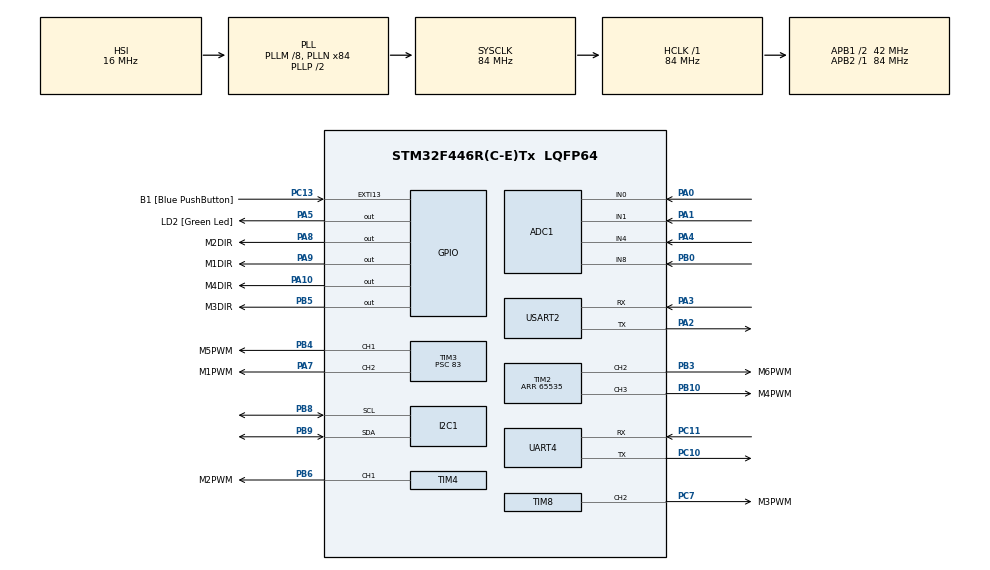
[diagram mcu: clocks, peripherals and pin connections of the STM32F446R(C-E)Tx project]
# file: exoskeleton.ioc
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ADC1.Channel-0\#ChannelRegularConversion=ADC_CHANNEL_0
ADC1.Channel-1\#ChannelRegularConversion=ADC_CHANNEL_1
ADC1.Channel-2\#ChannelRegularConversion=ADC_CHANNEL_4
ADC1.Channel-3\#ChannelRegularConversion=ADC_CHANNEL_8
ADC1.ContinuousConvMode=DISABLE
ADC1.DMAContinuousRequests=ENABLE
ADC1.EOCSelection=ADC_EOC_SEQ_CONV
ADC1.NbrOfConversion=4
ADC1.NbrOfConversionFlag=1
ADC1.Rank-0\#ChannelRegularConversion=1
ADC1.Rank-1\#ChannelRegularConversion=2
ADC1.Rank-2\#ChannelRegularConversion=3
ADC1.Rank-3\#ChannelRegularConversion=4
ADC1.SamplingTime-0\#ChannelRegularConversion=ADC_SAMPLETIME_3CYCLES
ADC1.SamplingTime-1\#ChannelRegularConversion=ADC_SAMPLETIME_3CYCLES
ADC1.SamplingTime-2\#ChannelRegularConversion=ADC_SAMPLETIME_3CYCLES
ADC1.SamplingTime-3\#ChannelRegularConversion=ADC_SAMPLETIME_3CYCLES
ADC1.master=1
Dma.ADC1.0.Direction=DMA_PERIPH_TO_MEMORY
Dma.ADC1.0.FIFOMode=DMA_FIFOMODE_DISABLE
Dma.ADC1.0.Instance=DMA2_Stream0
Dma.ADC1.0.MemDataAlignment=DMA_MDATAALIGN_WORD
Dma.ADC1.0.MemInc=DMA_MINC_ENABLE
Dma.ADC1.0.Mode=DMA_CIRCULAR
Dma.ADC1.0.PeriphDataAlignment=DMA_PDATAALIGN_WORD
Dma.ADC1.0.PeriphInc=DMA_PINC_DISABLE
Dma.ADC1.0.Priority=DMA_PRIORITY_VERY_HIGH
Dma.Request0=ADC1
I2C1.I2C_Mode=I2C_Standard
Mcu.Family=STM32F4
Mcu.Name=STM32F446R(C-E)Tx
Mcu.Package=LQFP64
NVIC.DMA2_Stream0_IRQn=true\:0\:0\:false\:false\:true\:false\:true\:true
NVIC.PriorityGroup=NVIC_PRIORITYGROUP_0
PA0-WKUP.Signal=ADCx_IN0
PA1.Signal=ADCx_IN1
PA10.GPIO_Label=M4DIR
PA10.Signal=GPIO_Output
PA2.Mode=Asynchronous
PA2.Signal=USART2_TX
PA3.Mode=Asynchronous
PA3.Signal=USART2_RX
PA4.Signal=ADCx_IN4
PA5.GPIO_Label=LD2 [Green Led]
PA5.Signal=GPIO_Output
PA7.GPIO_Label=M1PWM
PA7.Signal=S_TIM3_CH2
PA8.GPIO_Label=M2DIR
PA8.Signal=GPIO_Output
PA9.GPIO_Label=M1DIR
PA9.Signal=GPIO_Output
PB0.Signal=ADCx_IN8
PB10.GPIO_Label=M4PWM
PB10.Signal=S_TIM2_CH3
PB3.GPIO_Label=M6PWM
PB3.Signal=S_TIM2_CH2
PB4.GPIO_Label=M5PWM
PB4.Signal=S_TIM3_CH1
PB5.GPIO_Label=M3DIR
PB5.Signal=GPIO_Output
PB6.GPIO_Label=M2PWM
PB6.Signal=S_TIM4_CH1
PB8.GPIO_Pu=GPIO_NOPULL
PB8.Mode=I2C
PB8.Signal=I2C1_SCL
PB9.GPIO_Pu=GPIO_NOPULL
PB9.Mode=I2C
PB9.Signal=I2C1_SDA
PC10.Mode=Asynchronous
PC10.Signal=UART4_TX
PC11.Mode=Asynchronous
PC11.Signal=UART4_RX
PC13.GPIO_Label=B1 [Blue PushButton]
PC13.GPIO_ModeDefaultEXTI=GPIO_MODE_IT_FALLING
PC13.Signal=GPXTI13
PC7.GPIO_Label=M3PWM
PC7.Signal=S_TIM8_CH2
ProjectManager.HeapSize=0x200
ProjectManager.StackSize=0x400
ProjectManager.TargetToolchain=STM32CubeIDE
RCC.AHBFreq_Value=84000000
RCC.APB1CLKDivider=RCC_HCLK_DIV2
RCC.APB1Freq_Value=42000000
RCC.APB1TimFreq_Value=84000000
RCC.APB2Freq_Value=84000000
RCC.APB2TimFreq_Value=84000000
RCC.CortexFreq_Value=84000000
RCC.FLatency-AdvancedSettings=FLASH_LATENCY_2
RCC.HCLKFreq_Value=84000000
RCC.HSE_VALUE=8000000
RCC.HSI_VALUE=16000000
RCC.PLLM=8
RCC.PLLN=84
RCC.SYSCLKFreq_VALUE=84000000
RCC.SYSCLKSource=RCC_SYSCLKSOURCE_PLLCLK
RCC.USBFreq_Value=84000000
RCC.VCOOutputFreq_Value=168000000
SH.ADCx_IN0.0=ADC1_IN0,IN0
SH.ADCx_IN1.0=ADC1_IN1,IN1
SH.ADCx_IN4.0=ADC1_IN4,IN4
SH.ADCx_IN8.0=ADC1_IN8,IN8
SH.S_TIM2_CH2.0=TIM2_CH2,PWM Generation2 CH2
SH.S_TIM2_CH3.0=TIM2_CH3,PWM Generation3 CH3
SH.S_TIM3_CH1.0=TIM3_CH1,PWM Generation1 CH1
SH.S_TIM3_CH2.0=TIM3_CH2,PWM Generation2 CH2
SH.S_TIM4_CH1.0=TIM4_CH1,PWM Generation1 CH1
SH.S_TIM8_CH2.0=TIM8_CH2,PWM Generation2 CH2
TIM2.Channel-PWM\ Generation2\ CH2=TIM_CHANNEL_2
TIM2.Channel-PWM\ Generation3\ CH3=TIM_CHANNEL_3
TIM2.OCMode_PWM-PWM\ Generation3\ CH3=TIM_OCMODE_PWM1
TIM2.Period=65535
TIM2.Pulse-PWM\ Generation2\ CH2=0
TIM3.Channel-PWM\ Generation1\ CH1=TIM_CHANNEL_1
TIM3.Channel-PWM\ Generation2\ CH2=TIM_CHANNEL_2
TIM3.Period=19975
TIM3.Prescaler=83
TIM4.Channel-PWM\ Generation1\ CH1=TIM_CHANNEL_1
TIM8.Channel-PWM\ Generation2\ CH2=TIM_CHANNEL_2
UART4.VirtualMode=Asynchronous
USART2.VirtualMode=VM_ASYNC
VP_TIM3_VS_ClockSourceINT.Mode=Internal
VP_TIM4_VS_ClockSourceINT.Mode=Internal
VP_TIM8_VS_ClockSourceINT.Mode=Internal
board=NUCLEO-F446RE

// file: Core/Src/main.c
/* USER CODE BEGIN Header */
/**
  ******************************************************************************
  * @file           : main.c
  * @brief          : Main program body
  ******************************************************************************
  * @attention
  *
  * Copyright (c) 2023 STMicroelectronics.
  * All rights reserved.
  *
  * This software is licensed under terms that can be found in the LICENSE file
  * in the root directory of this software component.
  * If no LICENSE file comes with this software, it is provided AS-IS.
  *
  ******************************************************************************
  */
/* USER CODE END Header */
#include "main.h"

ADC_HandleTypeDef hadc1;
DMA_HandleTypeDef hdma_adc1;

I2C_HandleTypeDef hi2c1;

TIM_HandleTypeDef htim2;
TIM_HandleTypeDef htim3;
TIM_HandleTypeDef htim4;
TIM_HandleTypeDef htim8;

UART_HandleTypeDef huart4;
UART_HandleTypeDef huart2;

void SystemClock_Config(void);
static void MX_GPIO_Init(void);
static void MX_DMA_Init(void);
static void MX_I2C1_Init(void);
static void MX_TIM2_Init(void);
static void MX_TIM3_Init(void);
static void MX_TIM4_Init(void);
static void MX_TIM8_Init(void);
static void MX_UART4_Init(void);
static void MX_USART2_UART_Init(void);
static void MX_ADC1_Init(void);

int main(void)
{

  /* MCU Configuration--------------------------------------------------------*/

  /* Reset of all peripherals, Initializes the Flash interface and the Systick. */
  HAL_Init();

  /* USER CODE BEGIN Init */

  uint8_t msg[100]; //buffer for UART message
  int msgSize;		//variable for UART message size in bytes
  uint8_t * i2cMsg;	//8-bit value of I2C message
  uint8_t buf;
  uint8_t val = 0x00;
  uint8_t test = 0;
  //extern con
  /* USER CODE END Init */

  /* Configure the system clock */
  SystemClock_Config();

  /* Initialize all configured peripherals */
  MX_GPIO_Init();
  MX_DMA_Init();
  MX_I2C1_Init();
  MX_TIM2_Init();
  MX_TIM3_Init();
  MX_TIM4_Init();
  MX_TIM8_Init();
  MX_UART4_Init();
  MX_USART2_UART_Init();
  MX_ADC1_Init();
  /* USER CODE BEGIN 2 */
  HAL_TIM_PWM_Start(&htim3, TIM_CHANNEL_2); //Motor 1
  HAL_TIM_PWM_Start(&htim4, TIM_CHANNEL_1); //Motor 2
  HAL_TIM_PWM_Start(&htim8, TIM_CHANNEL_2); //Motor 3
  HAL_TIM_PWM_Start(&htim2, TIM_CHANNEL_3); //Motor 4
  HAL_TIM_PWM_Start(&htim3, TIM_CHANNEL_1); //Motor 5
  HAL_TIM_PWM_Start(&htim2, TIM_CHANNEL_2); //Motor 6

  //MCP23008_Write8(MCP_IODIR, 0xFF); //configure all pins as outputs
  //MCP23008_Write8(MCP_GPPU, 0xFF); //configure all pins with pullups
  /* USER CODE END 2 */

  /* Infinite loop */
  /* USER CODE BEGIN WHILE */
  /*
  uint8_t encPos[6];
  while (1)
  {
	  encPos[0] = enc_read_pos(1); //read 1st joint
	  encPos[1] = enc_read_pos(2); //read 2nd joint
	  msgSize = sprintf((char *)msg, "Encoder 1 start: %u\r\n", encPos[0]); //store message in msg buffer
	  HAL_UART_Transmit(&huart2, msg, msgSize, 10); //Send UART message to UART2
	  msgSize = sprintf((char *)msg, "Encoder 2 start: %u\r\n", encPos[1]); //store message in msg buffer
	  HAL_UART_Transmit(&huart2, msg, msgSize, 10); //Send UART message to UART2
	  HAL_Delay(100);
  }
  */
  control_run();
  while (1)
  {
	/*
	HAL_ADC_Start_DMA(&hadc1, emg, 4); //get DMA to update EMG values
	msgSize = sprintf((char *)msg, "EMG1: %lu\tEMG2: %lu\tEMG3: %lu\tEMG4: %lu\r\n", emg[0],emg[1], emg[2],emg[3]); //store message in msg buffer
	HAL_UART_Transmit(&huart2, msg, msgSize, 10); //Send UART message to UART2
	HAL_Delay(1000);

	for(int i = 5; i < 8; i++)
	{
		setMotorVel(1, 1, (i));
		HAL_Delay(10);
	}
	*/
	msgSize = sprintf((char *)msg, "We livin: %u\r\n", enc_read_pos(1)); //store message in msg buffer
	HAL_UART_Transmit(&huart2, msg, msgSize, 10); //Send UART message to UART2
	HAL_Delay(1000);

	/*
	setMotorVel(1, 1, 7.5);
	HAL_Delay(1000);

	setMotorVel(1, 1, 7.75);
	HAL_Delay(1000);

	setMotorVel(1, 1, 7.5);
	HAL_Delay(1000);

	setMotorVel(1, 1, 7.75);
	HAL_Delay(1000);
	/*
	for(int i = 8; i > 0; i--)
	{
		setMotorVel(1, 1, (i));
		HAL_Delay(10);
	}

	HAL_Delay(1000);

	for(int i = 0; i < 75; i++)
	{
		setMotorVel(1, 0, (i));
		HAL_Delay(10);
	}

	HAL_Delay(5000);

	for(int i = 75; i > 0; i--)
	{
		setMotorVel(1, 0, (i));
		HAL_Delay(10);
	}

	HAL_Delay(1000);
	*/

    /* USER CODE END WHILE */

    /* USER CODE BEGIN 3 */
	/*
	//i2cMsg = 5;
	HAL_I2C_Master_Transmit(&hi2c1, ENC1ADD, (uint8_t *)(0xFF), 1, 10);
	//encPos[0] = HAL_I2C_Master_Receive(&hi2c1, ENC1ADD, (uint8_t *)i2cMsg, sizeof(i2cMsg), 10); //i2c messages
	msgSize = sprintf((char *)msg, "Pos: %d\r\n", encPos[0]); //store message in msg buffer
	HAL_UART_Transmit(&huart2, msg, msgSize, 10); //Send UART message to UART2
	*/
  }
  /* USER CODE END 3 */
}

void SystemClock_Config(void)
{
  RCC_OscInitTypeDef RCC_OscInitStruct = {0};
  RCC_ClkInitTypeDef RCC_ClkInitStruct = {0};

  /** Configure the main internal regulator output voltage
  */
  __HAL_RCC_PWR_CLK_ENABLE();
  __HAL_PWR_VOLTAGESCALING_CONFIG(PWR_REGULATOR_VOLTAGE_SCALE3);

  /** Initializes the RCC Oscillators according to the specified parameters
  * in the RCC_OscInitTypeDef structure.
  */
  RCC_OscInitStruct.OscillatorType = RCC_OSCILLATORTYPE_HSI;
  RCC_OscInitStruct.HSIState = RCC_HSI_ON;
  RCC_OscInitStruct.HSICalibrationValue = RCC_HSICALIBRATION_DEFAULT;
  RCC_OscInitStruct.PLL.PLLState = RCC_PLL_ON;
  RCC_OscInitStruct.PLL.PLLSource = RCC_PLLSOURCE_HSI;
  RCC_OscInitStruct.PLL.PLLM = 8;
  RCC_OscInitStruct.PLL.PLLN = 84;
  RCC_OscInitStruct.PLL.PLLP = RCC_PLLP_DIV2;
  RCC_OscInitStruct.PLL.PLLQ = 2;
  RCC_OscInitStruct.PLL.PLLR = 2;
  if (HAL_RCC_OscConfig(&RCC_OscInitStruct) != HAL_OK)
  {
    Error_Handler();
  }

  /** Initializes the CPU, AHB and APB buses clocks
  */
  RCC_ClkInitStruct.ClockType = RCC_CLOCKTYPE_HCLK|RCC_CLOCKTYPE_SYSCLK
                              |RCC_CLOCKTYPE_PCLK1|RCC_CLOCKTYPE_PCLK2;
  RCC_ClkInitStruct.SYSCLKSource = RCC_SYSCLKSOURCE_PLLCLK;
  RCC_ClkInitStruct.AHBCLKDivider = RCC_SYSCLK_DIV1;
  RCC_ClkInitStruct.APB1CLKDivider = RCC_HCLK_DIV2;
  RCC_ClkInitStruct.APB2CLKDivider = RCC_HCLK_DIV1;

  if (HAL_RCC_ClockConfig(&RCC_ClkInitStruct, FLASH_LATENCY_2) != HAL_OK)
  {
    Error_Handler();
  }
}

static void MX_ADC1_Init(void)
{

  ADC_ChannelConfTypeDef sConfig = {0};

  /** Configure the global features of the ADC (Clock, Resolution, Data Alignment and number of conversion)
  */
  hadc1.Instance = ADC1;
  hadc1.Init.ClockPrescaler = ADC_CLOCK_SYNC_PCLK_DIV4;
  hadc1.Init.Resolution = ADC_RESOLUTION_12B;
  hadc1.Init.ScanConvMode = ENABLE;
  hadc1.Init.ContinuousConvMode = DISABLE;
  hadc1.Init.DiscontinuousConvMode = DISABLE;
  hadc1.Init.ExternalTrigConvEdge = ADC_EXTERNALTRIGCONVEDGE_NONE;
  hadc1.Init.ExternalTrigConv = ADC_SOFTWARE_START;
  hadc1.Init.DataAlign = ADC_DATAALIGN_RIGHT;
  hadc1.Init.NbrOfConversion = 4;
  hadc1.Init.DMAContinuousRequests = ENABLE;
  hadc1.Init.EOCSelection = ADC_EOC_SEQ_CONV;
  if (HAL_ADC_Init(&hadc1) != HAL_OK)
  {
    Error_Handler();
  }

  /** Configure for the selected ADC regular channel its corresponding rank in the sequencer and its sample time.
  */
  sConfig.Channel = ADC_CHANNEL_0;
  sConfig.Rank = 1;
  sConfig.SamplingTime = ADC_SAMPLETIME_3CYCLES;
  if (HAL_ADC_ConfigChannel(&hadc1, &sConfig) != HAL_OK)
  {
    Error_Handler();
  }

  /** Configure for the selected ADC regular channel its corresponding rank in the sequencer and its sample time.
  */
  sConfig.Channel = ADC_CHANNEL_1;
  sConfig.Rank = 2;
  if (HAL_ADC_ConfigChannel(&hadc1, &sConfig) != HAL_OK)
  {
    Error_Handler();
  }

  /** Configure for the selected ADC regular channel its corresponding rank in the sequencer and its sample time.
  */
  sConfig.Channel = ADC_CHANNEL_4;
  sConfig.Rank = 3;
  if (HAL_ADC_ConfigChannel(&hadc1, &sConfig) != HAL_OK)
  {
    Error_Handler();
  }

  /** Configure for the selected ADC regular channel its corresponding rank in the sequencer and its sample time.
  */
  sConfig.Channel = ADC_CHANNEL_8;
  sConfig.Rank = 4;
  if (HAL_ADC_ConfigChannel(&hadc1, &sConfig) != HAL_OK)
  {
    Error_Handler();
  }

}

static void MX_I2C1_Init(void)
{

  hi2c1.Instance = I2C1;
  hi2c1.Init.ClockSpeed = 100000;
  hi2c1.Init.DutyCycle = I2C_DUTYCYCLE_2;
  hi2c1.Init.OwnAddress1 = 0;
  hi2c1.Init.AddressingMode = I2C_ADDRESSINGMODE_7BIT;
  hi2c1.Init.DualAddressMode = I2C_DUALADDRESS_DISABLE;
  hi2c1.Init.OwnAddress2 = 0;
  hi2c1.Init.GeneralCallMode = I2C_GENERALCALL_DISABLE;
  hi2c1.Init.NoStretchMode = I2C_NOSTRETCH_DISABLE;
  if (HAL_I2C_Init(&hi2c1) != HAL_OK)
  {
    Error_Handler();
  }

}

static void MX_TIM2_Init(void)
{

  TIM_MasterConfigTypeDef sMasterConfig = {0};
  TIM_OC_InitTypeDef sConfigOC = {0};

  htim2.Instance = TIM2;
  htim2.Init.Prescaler = 0;
  htim2.Init.CounterMode = TIM_COUNTERMODE_UP;
  htim2.Init.Period = 65535;
  htim2.Init.ClockDivision = TIM_CLOCKDIVISION_DIV1;
  htim2.Init.AutoReloadPreload = TIM_AUTORELOAD_PRELOAD_DISABLE;
  if (HAL_TIM_PWM_Init(&htim2) != HAL_OK)
  {
    Error_Handler();
  }
  sMasterConfig.MasterOutputTrigger = TIM_TRGO_RESET;
  sMasterConfig.MasterSlaveMode = TIM_MASTERSLAVEMODE_DISABLE;
  if (HAL_TIMEx_MasterConfigSynchronization(&htim2, &sMasterConfig) != HAL_OK)
  {
    Error_Handler();
  }
  sConfigOC.OCMode = TIM_OCMODE_PWM1;
  sConfigOC.Pulse = 0;
  sConfigOC.OCPolarity = TIM_OCPOLARITY_HIGH;
  sConfigOC.OCFastMode = TIM_OCFAST_DISABLE;
  if (HAL_TIM_PWM_ConfigChannel(&htim2, &sConfigOC, TIM_CHANNEL_2) != HAL_OK)
  {
    Error_Handler();
  }
  if (HAL_TIM_PWM_ConfigChannel(&htim2, &sConfigOC, TIM_CHANNEL_3) != HAL_OK)
  {
    Error_Handler();
  }
  HAL_TIM_MspPostInit(&htim2);

}

static void MX_TIM3_Init(void)
{

  TIM_ClockConfigTypeDef sClockSourceConfig = {0};
  TIM_MasterConfigTypeDef sMasterConfig = {0};
  TIM_OC_InitTypeDef sConfigOC = {0};

  htim3.Instance = TIM3;
  htim3.Init.Prescaler = 83;
  htim3.Init.CounterMode = TIM_COUNTERMODE_UP;
  htim3.Init.Period = 19975;
  htim3.Init.ClockDivision = TIM_CLOCKDIVISION_DIV1;
  htim3.Init.AutoReloadPreload = TIM_AUTORELOAD_PRELOAD_DISABLE;
  if (HAL_TIM_Base_Init(&htim3) != HAL_OK)
  {
    Error_Handler();
  }
  sClockSourceConfig.ClockSource = TIM_CLOCKSOURCE_INTERNAL;
  if (HAL_TIM_ConfigClockSource(&htim3, &sClockSourceConfig) != HAL_OK)
  {
    Error_Handler();
  }
  if (HAL_TIM_PWM_Init(&htim3) != HAL_OK)
  {
    Error_Handler();
  }
  sMasterConfig.MasterOutputTrigger = TIM_TRGO_RESET;
  sMasterConfig.MasterSlaveMode = TIM_MASTERSLAVEMODE_DISABLE;
  if (HAL_TIMEx_MasterConfigSynchronization(&htim3, &sMasterConfig) != HAL_OK)
  {
    Error_Handler();
  }
  sConfigOC.OCMode = TIM_OCMODE_PWM1;
  sConfigOC.Pulse = 0;
  sConfigOC.OCPolarity = TIM_OCPOLARITY_HIGH;
  sConfigOC.OCFastMode = TIM_OCFAST_DISABLE;
  if (HAL_TIM_PWM_ConfigChannel(&htim3, &sConfigOC, TIM_CHANNEL_1) != HAL_OK)
  {
    Error_Handler();
  }
  if (HAL_TIM_PWM_ConfigChannel(&htim3, &sConfigOC, TIM_CHANNEL_2) != HAL_OK)
  {
    Error_Handler();
  }
  HAL_TIM_MspPostInit(&htim3);

}

static void MX_TIM4_Init(void)
{

  TIM_ClockConfigTypeDef sClockSourceConfig = {0};
  TIM_MasterConfigTypeDef sMasterConfig = {0};
  TIM_OC_InitTypeDef sConfigOC = {0};

  htim4.Instance = TIM4;
  htim4.Init.Prescaler = 0;
  htim4.Init.CounterMode = TIM_COUNTERMODE_UP;
  htim4.Init.Period = 65535;
  htim4.Init.ClockDivision = TIM_CLOCKDIVISION_DIV1;
  htim4.Init.AutoReloadPreload = TIM_AUTORELOAD_PRELOAD_DISABLE;
  if (HAL_TIM_Base_Init(&htim4) != HAL_OK)
  {
    Error_Handler();
  }
  sClockSourceConfig.ClockSource = TIM_CLOCKSOURCE_INTERNAL;
  if (HAL_TIM_ConfigClockSource(&htim4, &sClockSourceConfig) != HAL_OK)
  {
    Error_Handler();
  }
  if (HAL_TIM_PWM_Init(&htim4) != HAL_OK)
  {
    Error_Handler();
  }
  sMasterConfig.MasterOutputTrigger = TIM_TRGO_RESET;
  sMasterConfig.MasterSlaveMode = TIM_MASTERSLAVEMODE_DISABLE;
  if (HAL_TIMEx_MasterConfigSynchronization(&htim4, &sMasterConfig) != HAL_OK)
  {
    Error_Handler();
  }
  sConfigOC.OCMode = TIM_OCMODE_PWM1;
  sConfigOC.Pulse = 0;
  sConfigOC.OCPolarity = TIM_OCPOLARITY_HIGH;
  sConfigOC.OCFastMode = TIM_OCFAST_DISABLE;
  if (HAL_TIM_PWM_ConfigChannel(&htim4, &sConfigOC, TIM_CHANNEL_1) != HAL_OK)
  {
    Error_Handler();
  }
  HAL_TIM_MspPostInit(&htim4);

}

static void MX_TIM8_Init(void)
{

  TIM_ClockConfigTypeDef sClockSourceConfig = {0};
  TIM_MasterConfigTypeDef sMasterConfig = {0};
  TIM_OC_InitTypeDef sConfigOC = {0};
  TIM_BreakDeadTimeConfigTypeDef sBreakDeadTimeConfig = {0};

  htim8.Instance = TIM8;
  htim8.Init.Prescaler = 0;
  htim8.Init.CounterMode = TIM_COUNTERMODE_UP;
  htim8.Init.Period = 65535;
  htim8.Init.ClockDivision = TIM_CLOCKDIVISION_DIV1;
  htim8.Init.RepetitionCounter = 0;
  htim8.Init.AutoReloadPreload = TIM_AUTORELOAD_PRELOAD_DISABLE;
  if (HAL_TIM_Base_Init(&htim8) != HAL_OK)
  {
    Error_Handler();
  }
  sClockSourceConfig.ClockSource = TIM_CLOCKSOURCE_INTERNAL;
  if (HAL_TIM_ConfigClockSource(&htim8, &sClockSourceConfig) != HAL_OK)
  {
    Error_Handler();
  }
  if (HAL_TIM_PWM_Init(&htim8) != HAL_OK)
  {
    Error_Handler();
  }
  sMasterConfig.MasterOutputTrigger = TIM_TRGO_RESET;
  sMasterConfig.MasterSlaveMode = TIM_MASTERSLAVEMODE_DISABLE;
  if (HAL_TIMEx_MasterConfigSynchronization(&htim8, &sMasterConfig) != HAL_OK)
  {
    Error_Handler();
  }
  sConfigOC.OCMode = TIM_OCMODE_PWM1;
  sConfigOC.Pulse = 0;
  sConfigOC.OCPolarity = TIM_OCPOLARITY_HIGH;
  sConfigOC.OCNPolarity = TIM_OCNPOLARITY_HIGH;
  sConfigOC.OCFastMode = TIM_OCFAST_DISABLE;
  sConfigOC.OCIdleState = TIM_OCIDLESTATE_RESET;
  sConfigOC.OCNIdleState = TIM_OCNIDLESTATE_RESET;
  if (HAL_TIM_PWM_ConfigChannel(&htim8, &sConfigOC, TIM_CHANNEL_2) != HAL_OK)
  {
    Error_Handler();
  }
  sBreakDeadTimeConfig.OffStateRunMode = TIM_OSSR_DISABLE;
  sBreakDeadTimeConfig.OffStateIDLEMode = TIM_OSSI_DISABLE;
  sBreakDeadTimeConfig.LockLevel = TIM_LOCKLEVEL_OFF;
  sBreakDeadTimeConfig.DeadTime = 0;
  sBreakDeadTimeConfig.BreakState = TIM_BREAK_DISABLE;
  sBreakDeadTimeConfig.BreakPolarity = TIM_BREAKPOLARITY_HIGH;
  sBreakDeadTimeConfig.AutomaticOutput = TIM_AUTOMATICOUTPUT_DISABLE;
  if (HAL_TIMEx_ConfigBreakDeadTime(&htim8, &sBreakDeadTimeConfig) != HAL_OK)
  {
    Error_Handler();
  }
  HAL_TIM_MspPostInit(&htim8);

}

static void MX_UART4_Init(void)
{

  huart4.Instance = UART4;
  huart4.Init.BaudRate = 115200;
  huart4.Init.WordLength = UART_WORDLENGTH_8B;
  huart4.Init.StopBits = UART_STOPBITS_1;
  huart4.Init.Parity = UART_PARITY_NONE;
  huart4.Init.Mode = UART_MODE_TX_RX;
  huart4.Init.HwFlowCtl = UART_HWCONTROL_NONE;
  huart4.Init.OverSampling = UART_OVERSAMPLING_16;
  if (HAL_UART_Init(&huart4) != HAL_OK)
  {
    Error_Handler();
  }

}

static void MX_USART2_UART_Init(void)
{

  huart2.Instance = USART2;
  huart2.Init.BaudRate = 115200;
  huart2.Init.WordLength = UART_WORDLENGTH_8B;
  huart2.Init.StopBits = UART_STOPBITS_1;
  huart2.Init.Parity = UART_PARITY_NONE;
  huart2.Init.Mode = UART_MODE_TX_RX;
  huart2.Init.HwFlowCtl = UART_HWCONTROL_NONE;
  huart2.Init.OverSampling = UART_OVERSAMPLING_16;
  if (HAL_UART_Init(&huart2) != HAL_OK)
  {
    Error_Handler();
  }

}

static void MX_DMA_Init(void)
{

  /* DMA controller clock enable */
  __HAL_RCC_DMA2_CLK_ENABLE();

  /* DMA interrupt init */
  /* DMA2_Stream0_IRQn interrupt configuration */
  HAL_NVIC_SetPriority(DMA2_Stream0_IRQn, 0, 0);
  HAL_NVIC_EnableIRQ(DMA2_Stream0_IRQn);

}

static void MX_GPIO_Init(void)
{
  GPIO_InitTypeDef GPIO_InitStruct = {0};

  /* GPIO Ports Clock Enable */
  __HAL_RCC_GPIOC_CLK_ENABLE();
  __HAL_RCC_GPIOA_CLK_ENABLE();
  __HAL_RCC_GPIOB_CLK_ENABLE();

  /*Configure GPIO pin Output Level */
  HAL_GPIO_WritePin(GPIOA, LD2_Pin|M2DIR_Pin|M1DIR_Pin|M4DIR_Pin, GPIO_PIN_RESET);

  /*Configure GPIO pin Output Level */
  HAL_GPIO_WritePin(M3DIR_GPIO_Port, M3DIR_Pin, GPIO_PIN_RESET);

  /*Configure GPIO pin : B1_Pin */
  GPIO_InitStruct.Pin = B1_Pin;
  GPIO_InitStruct.Mode = GPIO_MODE_IT_FALLING;
  GPIO_InitStruct.Pull = GPIO_NOPULL;
  HAL_GPIO_Init(B1_GPIO_Port, &GPIO_InitStruct);

  /*Configure GPIO pins : LD2_Pin M2DIR_Pin M1DIR_Pin M4DIR_Pin */
  GPIO_InitStruct.Pin = LD2_Pin|M2DIR_Pin|M1DIR_Pin|M4DIR_Pin;
  GPIO_InitStruct.Mode = GPIO_MODE_OUTPUT_PP;
  GPIO_InitStruct.Pull = GPIO_NOPULL;
  GPIO_InitStruct.Speed = GPIO_SPEED_FREQ_LOW;
  HAL_GPIO_Init(GPIOA, &GPIO_InitStruct);

  /*Configure GPIO pin : M3DIR_Pin */
  GPIO_InitStruct.Pin = M3DIR_Pin;
  GPIO_InitStruct.Mode = GPIO_MODE_OUTPUT_PP;
  GPIO_InitStruct.Pull = GPIO_NOPULL;
  GPIO_InitStruct.Speed = GPIO_SPEED_FREQ_LOW;
  HAL_GPIO_Init(M3DIR_GPIO_Port, &GPIO_InitStruct);

}

void Error_Handler(void)
{
  __disable_irq();
  while (1)
  {
  }
}
